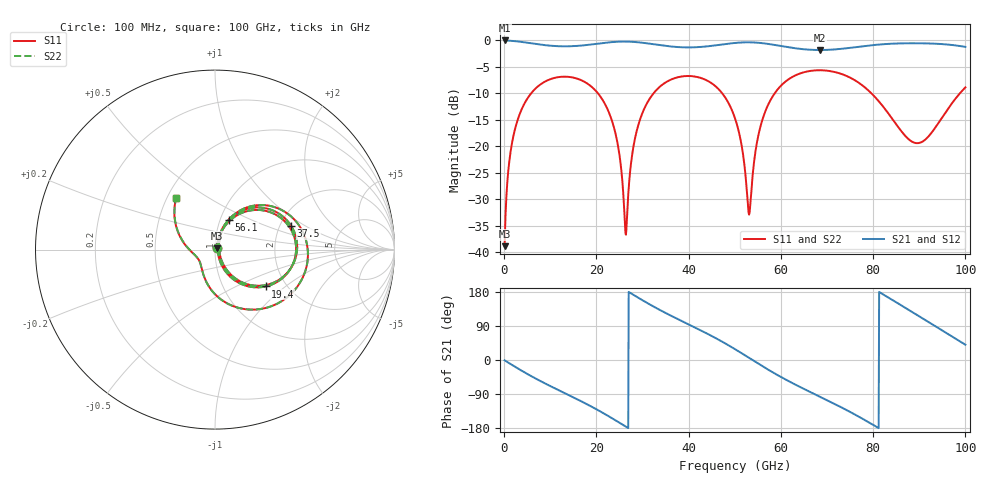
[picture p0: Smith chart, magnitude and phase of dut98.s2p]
! Touchstone file exported from HFSS 2026.1.0
!  File:  C:/ffzhzh/LocalFiles/Ansys_Project_Files/temp_train_TSV_RDL_98_1783455054_34316.aedt
!  Generated:  04:20:19 AM Jul  8, 2026
!  Design:  TSV_RDL
!  Project:  temp_train_TSV_RDL_98_1783455054_34316
! Variables:
!  h_bsmrdl = 4.02um
!  h_ox = 20um
!  h_rdl = 5um
!  h_sub = 76.94um
!  h_tmrdl = 2.74um
!  h_tsv = 76.94um
!  h_via = 3um
!  l_bsmrdl = 314.8um
!  l_sub = 2170.95um
!  l_tmrdl = 171.71um
!  m_sub = 200um
!  pitch = 48.88um
!  r_tsv = 9.59um
!  s_tmrdl = 10um
!  w_bsmrdl = 21.06um
!  w_sub = 500um
!  w_tmrdl = 25.51um
!  x_tsv_center1 = 184.465um
!  x_tsv_center2 = 520.325um
!  x_tsv_center3 = 717.545um
!  x_tsv_center4 = 1053.405um
!  x_tsv_center5 = 1250.625um
!  x_tsv_center6 = 1586.485um
# GHz S MA R 50.000000
! Terminal data exported
! Port[1] = TM_RDL1_1_T1
! Port[2] = TM_RDL5_1_T1
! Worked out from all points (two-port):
!   1000 points, 100 MHz to 100 GHz, reference 50 ohm
!   highest |S21| = -0.08 dB at 100 MHz (marker M1); lowest = -1.9 dB at 68.5 GHz (marker M2)
!   |S21| within 3 dB of the highest: start of sweep to end of sweep
!   lowest |S11| = -38.8 dB at 100 MHz (marker M3), VSWR 1.02, Z = 50.9 + j0.698 ohm
!   |S11| at or under -10 dB: 20.3 GHz to 32.42 GHz (12.12 GHz wide, 46 % of centre); 47.25 GHz to 58.68 GHz (11.43 GHz wide, 21.6 % of centre); 79.58 GHz to 98.84 GHz (19.26 GHz wide, 21.6 % of centre) (the widest 3 of 4)
!   |S22| runs from -38.8 to -5.7 dB; largest |S21 - S12| = 1.7e-14
!   S11 on the Smith chart (normalised r, x): 100 MHz: 1.02, +0.01; 19.4 GHz: 1.57, -0.74; 37.5 GHz: 2.30, +0.76; 56.1 GHz: 1.10, +0.38; 100 GHz: 0.56, +0.36
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0.1  0.01146 36.7  0.9909 -0.8  0.9909 -0.8  0.01146 36.7
! Gamma 0 0 0 0
! Port Impedance 50 0 50 0
1.6  0.101 70.7  0.9824 -12.2  0.9824 -12.2  0.101 70.7
4.4  0.2522 54.0  0.9519 -32.5  0.9519 -32.5  0.2522 54.0
10.1  0.4293 18.5  0.884 -69.4  0.884 -69.4  0.4293 18.5
16.8  0.4169 -20.3  0.8877 -109.5  0.8877 -109.5  0.4169 -20.3
19.4  0.3488 -36.1  0.9138 -126.0  0.9138 -126.0  0.3487 -36.1
23.9  0.1451 -63.4  0.9601 -157.4  0.9601 -157.4  0.1451 -63.4
26.4  0.01469 8.8  0.9672 -175.9  0.9672 -175.9  0.01489 8.9
28.8  0.1426 69.3  0.9547 166.3  0.9547 166.3  0.1426 69.2
33.4  0.3518 41.6  0.8995 134.4  0.8995 134.4  0.3518 41.6
37.5  0.4445 17.3  0.8595 108.8  0.8595 108.8  0.4445 17.3
44.5  0.4041 -23.0  0.8767 66.6  0.8767 66.6  0.404 -23.0
50.1  0.1806 -56.3  0.9392 28.2  0.9392 28.2  0.1805 -56.3
53.1  0.02272 4.3  0.9519 5.6  0.9519 5.6  0.02268 4.4
56.1  0.1839 65.2  0.933 -17.1  0.933 -17.1  0.1839 65.2
61  0.4064 35.7  0.8638 -51.4  0.8638 -51.4  0.4065 35.7
66.7  0.5141 2.5  0.8089 -86.4  0.8089 -86.4  0.5142 2.5
68.5  0.5194 -7.6  0.8055 -97.1  0.8055 -97.1  0.5195 -7.6
75.7  0.4264 -50.1  0.8513 -141.6  0.8513 -141.6  0.4264 -50.2
83.4  0.2008 -101.2  0.9207 164.1  0.9207 164.1  0.2007 -101.4
92  0.1238 -170.0  0.9287 100.3  0.9287 100.3  0.1237 -170.5
100  0.3583 127.3  0.8621 40.3  0.8621 40.3  0.3583 127.1
